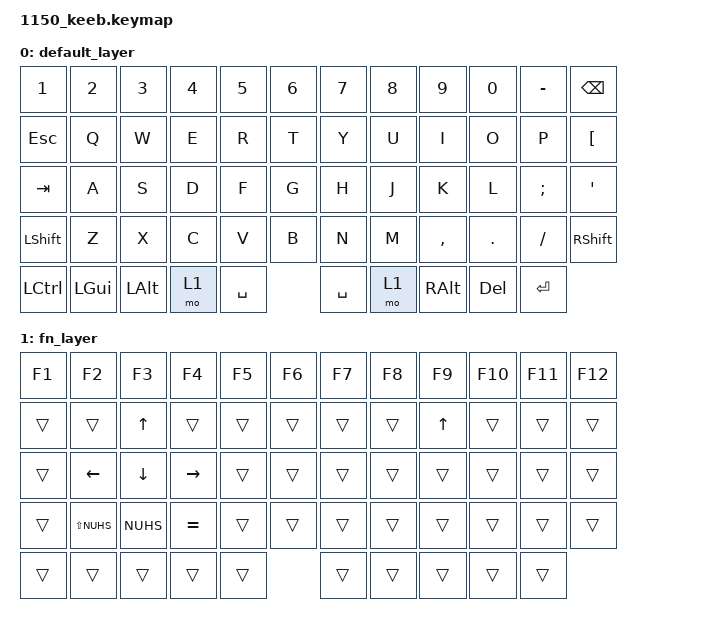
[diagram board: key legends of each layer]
#include <behaviors.dtsi>
#include <dt-bindings/zmk/keys.h>

/ {
    keymap {
        compatible = "zmk,keymap";

        default_layer {
            bindings = <
                // 1 2 3 4 5 6 7 8 9 0 +/? Backspace
                &kp N1     &kp N2     &kp N3     &kp N4     &kp N5     &kp N6     &kp N7     &kp N8     &kp N9     &kp N0     &kp MINUS  &kp BSPC

                // Esc QWERTY row norwegian
                &kp ESC    &kp Q      &kp W      &kp E      &kp R      &kp T      &kp Y      &kp U      &kp I      &kp O      &kp P      &kp LBKT

                // Tab ASDF row
                &kp TAB    &kp A      &kp S      &kp D      &kp F      &kp G      &kp H      &kp J      &kp K      &kp L      &kp SEMI   &kp SQT

                // Shift ZXCV row
                &kp LSHFT  &kp Z      &kp X      &kp C      &kp V      &kp B      &kp N      &kp M      &kp COMMA  &kp DOT    &kp SLASH   &kp RSHFT

                // Bottom row, 10 keys
                &kp LCTRL  &kp LGUI   &kp LALT      &mo 1   &kp SPACE             &kp SPACE   &mo 1      &kp RALT     &kp DEL    &kp RET
            >;
        };

        fn_layer {
            bindings = <
                // Number row becomes F row
                &kp F1     &kp F2     &kp F3     &kp F4     &kp F5     &kp F6     &kp F7     &kp F8     &kp F9     &kp F10    &kp F11    &kp F12

                // WASD becomes arrows: W=Up
                &trans     &trans     &kp UP     &trans     &trans     &trans     &trans     &trans     &kp UP     &trans     &trans     &trans

                // A=Left, S=Down, D=Right
                &trans     &kp LEFT   &kp DOWN   &kp RIGHT  &trans     &trans     &trans     &trans     &trans     &trans     &trans     &trans

                &trans     &kp LS(NUHS)     &kp NUHS     &kp EQUAL     &trans     &trans     &trans     &trans     &trans     &trans     &trans     &trans

                &trans     &trans     &trans     &trans     &trans                &trans     &trans     &trans     &trans     &trans
            >;
        };
    };
};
